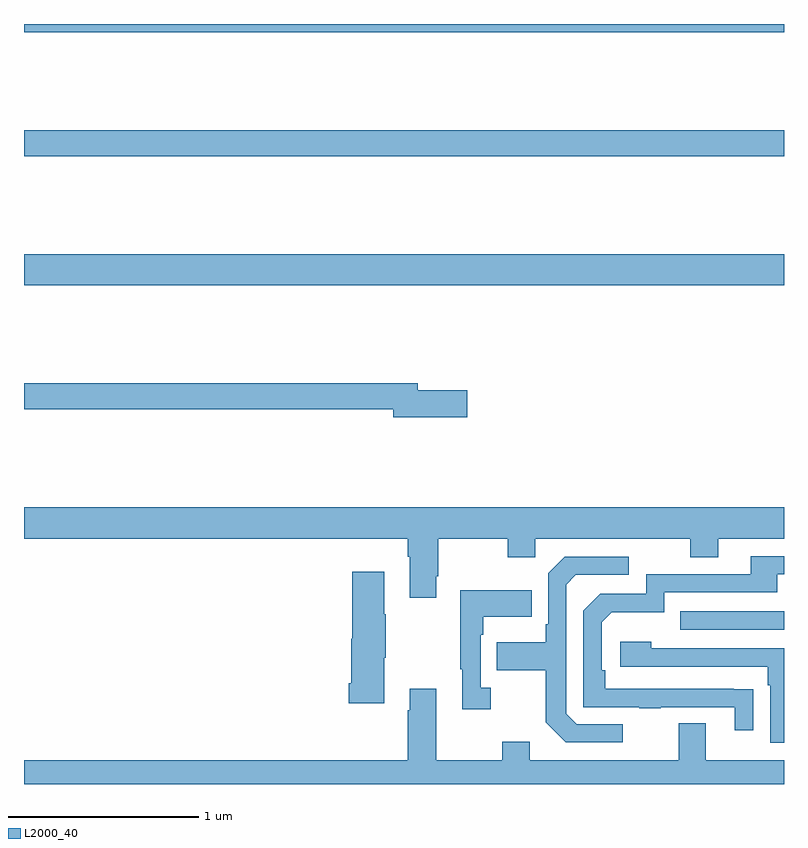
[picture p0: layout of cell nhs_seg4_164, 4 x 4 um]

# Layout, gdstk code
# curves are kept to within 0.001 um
import gdstk
lib = gdstk.Library(unit=1e-6, precision=1e-09)
def R(c, l, rs):  # rectangles x0, y0, x1, y1
    for r in rs: c.add(gdstk.rectangle(r[:2], r[2:], *l))
def P(c, l, *ps):  # polygons
    for p in ps: c.add(gdstk.Polygon(p, *l))
L2000_40 = (2000, 40)

nhs_seg4_164 = lib.new_cell('nhs_seg4_164')
R(nhs_seg4_164, L2000_40, [(122.455,757.713,123,757.809), (119,759.524,123,759.688), (119,760.204,123,760.34), (119,760.856,123,760.9)])
P(nhs_seg4_164, L2000_40, [(121.333,758.972),(121.072,758.972),(121.072,759.008),(119,759.008),(119,758.872),(120.944,758.872),(120.944,758.83),(121.333,758.83)],
  [(121.171,757.993),(121.179,757.993),(121.179,758.192),(121.546,758.192),(121.546,758.093),(121.692,758.093),(121.692,758.192),(122.506,758.192),(122.506,758.093),(122.653,758.093),(122.653,758.192),(123,758.192),(123,758.356),(119,758.356),(119,758.192),(121.019,758.192),(121.019,758.096),(121.031,758.096),(121.031,757.881),(121.171,757.881)],
  [(122.837,757.4),(122.06,757.401),(122.06,757.498),(122.04,757.498),(122.04,757.752),(122.093,757.805),(122.37,757.805),(122.37,757.908),(122.965,757.908),(122.965,758.004),(123,758.004),(123,758.1),(122.825,758.1),(122.825,758.004),(122.274,758.004),(122.274,757.902),(122.034,757.902),(121.944,757.812),(121.944,757.305),(122.239,757.305),(122.239,757.3),(122.351,757.3),(122.351,757.305),(122.741,757.305),(122.741,757.182),(122.837,757.182)],
  [(122.152,757.215),(121.908,757.215),(121.854,757.269),(121.854,757.95),(121.905,758.001),(122.182,758.001),(122.182,758.097),(121.845,758.097),(121.758,758.01),(121.758,757.741),(121.746,757.741),(121.746,757.645),(121.489,757.645),(121.489,757.498),(121.746,757.498),(121.746,757.225),(121.851,757.119),(122.152,757.119)],
  [(120.895,757.565),(120.903,757.565),(120.903,757.793),(120.895,757.793),(120.895,758.017),(120.728,758.017),(120.728,757.665),(120.722,757.665),(120.722,757.429),(120.71,757.429),(120.71,757.325),(120.895,757.325)],
  [(121.456,757.406),(121.404,757.406),(121.404,757.685),(121.417,757.685),(121.417,757.781),(121.673,757.781),(121.673,757.921),(121.296,757.921),(121.296,757.505),(121.307,757.505),(121.307,757.293),(121.456,757.293)],
  [(123,757.614),(122.3,757.614),(122.3,757.648),(122.139,757.648),(122.139,757.518),(122.915,757.518),(122.915,757.421),(122.928,757.421),(122.928,757.116),(123,757.116)],
  [(123,757.024),(122.587,757.024),(122.587,757.219),(122.447,757.219),(122.447,757.024),(121.663,757.024),(121.663,757.123),(121.516,757.123),(121.516,757.024),(121.171,757.024),(121.171,757.402),(121.031,757.402),(121.031,757.289),(121.019,757.289),(121.019,757.024),(119,757.024),(119,756.9),(123,756.9)])

lib.write_gds('nhs_seg4_164.gds')
